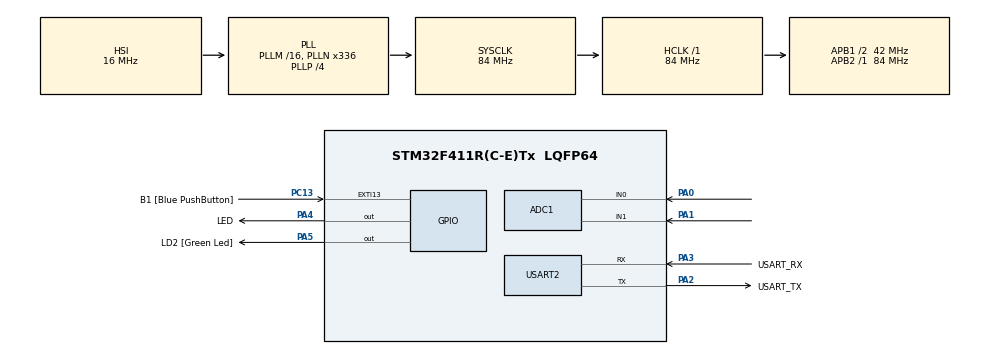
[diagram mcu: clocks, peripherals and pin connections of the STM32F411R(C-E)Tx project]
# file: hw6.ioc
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ADC1.Channel-0\#ChannelRegularConversion=ADC_CHANNEL_0
ADC1.Channel-1\#ChannelRegularConversion=ADC_CHANNEL_1
ADC1.DiscontinuousConvMode=ENABLE
ADC1.EnableAnalogWatchDog=true
ADC1.HighThreshold=3000
ADC1.ITMode=ENABLE
ADC1.NbrOfConversion=2
ADC1.NbrOfConversionFlag=1
ADC1.Rank-0\#ChannelRegularConversion=1
ADC1.Rank-1\#ChannelRegularConversion=2
ADC1.SamplingTime-0\#ChannelRegularConversion=ADC_SAMPLETIME_3CYCLES
ADC1.SamplingTime-1\#ChannelRegularConversion=ADC_SAMPLETIME_3CYCLES
ADC1.master=1
Mcu.Family=STM32F4
Mcu.Name=STM32F411R(C-E)Tx
Mcu.Package=LQFP64
NVIC.ADC_IRQn=true\:0\:0\:false\:false\:true\:true\:true\:true
NVIC.PriorityGroup=NVIC_PRIORITYGROUP_0
PA0-WKUP.Signal=ADCx_IN0
PA1.Signal=ADCx_IN1
PA13.GPIO_Label=TMS
PA13.Mode=Serial_Wire
PA13.Signal=SYS_JTMS-SWDIO
PA14.GPIO_Label=TCK
PA14.Mode=Serial_Wire
PA14.Signal=SYS_JTCK-SWCLK
PA2.GPIO_Label=USART_TX
PA2.Mode=Asynchronous
PA2.Signal=USART2_TX
PA3.GPIO_Label=USART_RX
PA3.Mode=Asynchronous
PA3.Signal=USART2_RX
PA4.GPIO_Label=LED
PA4.Signal=GPIO_Output
PA5.GPIO_Label=LD2 [Green Led]
PA5.Signal=GPIO_Output
PB3.GPIO_Label=SWO
PB3.Signal=SYS_JTDO-SWO
PC13-ANTI_TAMP.GPIO_Label=B1 [Blue PushButton]
PC13-ANTI_TAMP.GPIO_ModeDefaultEXTI=GPIO_MODE_IT_FALLING
PC13-ANTI_TAMP.Signal=GPXTI13
PC14-OSC32_IN.Mode=LSE-External-Oscillator
PC14-OSC32_IN.Signal=RCC_OSC32_IN
PC15-OSC32_OUT.Mode=LSE-External-Oscillator
PC15-OSC32_OUT.Signal=RCC_OSC32_OUT
PH0\ -\ OSC_IN.Mode=HSE-External-Clock-Source
PH0\ -\ OSC_IN.Signal=RCC_OSC_IN
PH1\ -\ OSC_OUT.Mode=HSE-External-Clock-Source
PH1\ -\ OSC_OUT.Signal=RCC_OSC_OUT
ProjectManager.HeapSize=0x200
ProjectManager.StackSize=0x400
ProjectManager.TargetToolchain=STM32CubeIDE
RCC.48MHZClocksFreq_Value=84000000
RCC.AHBFreq_Value=84000000
RCC.APB1CLKDivider=RCC_HCLK_DIV2
RCC.APB1Freq_Value=42000000
RCC.APB1TimFreq_Value=84000000
RCC.APB2Freq_Value=84000000
RCC.APB2TimFreq_Value=84000000
RCC.CortexFreq_Value=84000000
RCC.FLatency-AdvancedSettings=FLASH_LATENCY_2
RCC.HCLKFreq_Value=84000000
RCC.HSE_VALUE=8000000
RCC.HSI_VALUE=16000000
RCC.PLLN=336
RCC.PLLP=RCC_PLLP_DIV4
RCC.SYSCLKFreq_VALUE=84000000
RCC.SYSCLKSource=RCC_SYSCLKSOURCE_PLLCLK
RCC.VCOOutputFreq_Value=336000000
SH.ADCx_IN0.0=ADC1_IN0,IN0
SH.ADCx_IN1.0=ADC1_IN1,IN1
USART2.VirtualMode=VM_ASYNC
board=NUCLEO-F411RE

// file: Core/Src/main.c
/* USER CODE BEGIN Header */
/**
 ******************************************************************************
 * @file           : main.c
 * @brief          : Main program body
 ******************************************************************************
 * @attention
 *
 * Copyright (c) 2025 STMicroelectronics.
 * All rights reserved.
 *
 * This software is licensed under terms that can be found in the LICENSE file
 * in the root directory of this software component.
 * If no LICENSE file comes with this software, it is provided AS-IS.
 *
 ******************************************************************************
 */
/* USER CODE END Header */
#include "main.h"

/* USER CODE BEGIN Includes */
#include <stdio.h>
#include <string.h>
/* USER CODE END Includes */

ADC_HandleTypeDef hadc1;

UART_HandleTypeDef huart2;

/* USER CODE BEGIN PV */
uint16_t light_value = 0;   // PA0 - фоторезистор
uint16_t threshold_pot = 0; // PA1 - потенциометр порога

// Текущие пороги watchdog
uint16_t low_threshold = 1000;
uint16_t high_threshold = 3000;

// Фиксированный гистерезис
uint16_t hysteresis = 800;
/* USER CODE END PV */

void SystemClock_Config(void);
static void MX_GPIO_Init(void);
static void MX_USART2_UART_Init(void);
static void MX_ADC1_Init(void);

/* USER CODE BEGIN 0 */
//============================================================================
// Функция обновления порогов watchdog
void update_watchdog_thresholds(uint16_t center, uint16_t hysteresis) {
	// Вычисляем пороги: центр ± гистерезис/2
	low_threshold = center - (hysteresis / 2);
	high_threshold = center + (hysteresis / 2);

	// Защита от выхода за пределы 0-4095
	if (low_threshold > 4095)
		low_threshold = 4095;
	if (high_threshold > 4095)
		high_threshold = 4095;
	if (low_threshold < 0)
		low_threshold = 0;

	// Устанавливаем новые пороги в регистры watchdog
	ADC1->HTR = high_threshold;
	ADC1->LTR = low_threshold;
}

// Читаем только канал 0 (PA0)
void HAL_ADC_LevelOutOfWindowCallback(ADC_HandleTypeDef *hadc) {
	// Проверяем что прерывание от нашего ADC
	if (hadc->Instance != ADC1)
		return;

	uint16_t current_value = HAL_ADC_GetValue(hadc);

	// Управляем светодиодом
	if (current_value < low_threshold) {
		HAL_GPIO_WritePin(GPIOA, GPIO_PIN_4, GPIO_PIN_RESET);
	} else if (current_value > high_threshold) {
		HAL_GPIO_WritePin(GPIOA, GPIO_PIN_4, GPIO_PIN_SET);
	}
}
//============================================================================
/* USER CODE END 0 */

int main(void) {

	/* MCU Configuration--------------------------------------------------------*/

	/* Reset of all peripherals, Initializes the Flash interface and the Systick. */
	HAL_Init();

	/* Configure the system clock */
	SystemClock_Config();

	/* Initialize all configured peripherals */
	MX_GPIO_Init();
	MX_USART2_UART_Init();
	MX_ADC1_Init();

	/* Infinite loop */
	/* USER CODE BEGIN WHILE */
	while (1) {
		// Фоторезистор
		HAL_ADC_Start(&hadc1);
		HAL_ADC_PollForConversion(&hadc1, 1);
		light_value = HAL_ADC_GetValue(&hadc1); // PA0 - Channel0

		// Порог срабатывания
		HAL_ADC_Start(&hadc1);
		HAL_ADC_PollForConversion(&hadc1, 1);
		threshold_pot = HAL_ADC_GetValue(&hadc1); // PA1 - Channel1

		// Обновляем пороги watchdog
		update_watchdog_thresholds(threshold_pot, hysteresis);

		// --------------------------------------------------------------
		// Вывод в Serial Plotter (Arduino IDE)
		char buffer[50];
		sprintf(buffer, "%d %d %d %d\n", light_value, // СИНИЙ:   Освещенность - пр. потенциометр (фоторезистор)
				high_threshold,	// КРАСНЫЙ: Верхний порог
				low_threshold,	// ЗЕЛЕНЫЙ: Нижний порог
				(HAL_GPIO_ReadPin(GPIOA, GPIO_PIN_4) ? 800 : 0)); // Состояние LED

		HAL_UART_Transmit(&huart2, (uint8_t*) buffer, strlen(buffer), 100);
		// --------------------------------------------------------------

		HAL_Delay(100);
		/* USER CODE END WHILE */

	}
}

void SystemClock_Config(void) {
	RCC_OscInitTypeDef RCC_OscInitStruct = { 0 };
	RCC_ClkInitTypeDef RCC_ClkInitStruct = { 0 };

	/** Configure the main internal regulator output voltage
	 */
	__HAL_RCC_PWR_CLK_ENABLE();
	__HAL_PWR_VOLTAGESCALING_CONFIG(PWR_REGULATOR_VOLTAGE_SCALE1);

	/** Initializes the RCC Oscillators according to the specified parameters
	 * in the RCC_OscInitTypeDef structure.
	 */
	RCC_OscInitStruct.OscillatorType = RCC_OSCILLATORTYPE_HSI;
	RCC_OscInitStruct.HSIState = RCC_HSI_ON;
	RCC_OscInitStruct.HSICalibrationValue = RCC_HSICALIBRATION_DEFAULT;
	RCC_OscInitStruct.PLL.PLLState = RCC_PLL_ON;
	RCC_OscInitStruct.PLL.PLLSource = RCC_PLLSOURCE_HSI;
	RCC_OscInitStruct.PLL.PLLM = 16;
	RCC_OscInitStruct.PLL.PLLN = 336;
	RCC_OscInitStruct.PLL.PLLP = RCC_PLLP_DIV4;
	RCC_OscInitStruct.PLL.PLLQ = 4;
	if (HAL_RCC_OscConfig(&RCC_OscInitStruct) != HAL_OK) {
		Error_Handler();
	}

	/** Initializes the CPU, AHB and APB buses clocks
	 */
	RCC_ClkInitStruct.ClockType = RCC_CLOCKTYPE_HCLK | RCC_CLOCKTYPE_SYSCLK
			| RCC_CLOCKTYPE_PCLK1 | RCC_CLOCKTYPE_PCLK2;
	RCC_ClkInitStruct.SYSCLKSource = RCC_SYSCLKSOURCE_PLLCLK;
	RCC_ClkInitStruct.AHBCLKDivider = RCC_SYSCLK_DIV1;
	RCC_ClkInitStruct.APB1CLKDivider = RCC_HCLK_DIV2;
	RCC_ClkInitStruct.APB2CLKDivider = RCC_HCLK_DIV1;

	if (HAL_RCC_ClockConfig(&RCC_ClkInitStruct, FLASH_LATENCY_2) != HAL_OK) {
		Error_Handler();
	}
}

static void MX_ADC1_Init(void) {

	ADC_AnalogWDGConfTypeDef AnalogWDGConfig = { 0 };
	ADC_ChannelConfTypeDef sConfig = { 0 };

	/** Configure the global features of the ADC (Clock, Resolution, Data Alignment and number of conversion)
	 */
	hadc1.Instance = ADC1;
	hadc1.Init.ClockPrescaler = ADC_CLOCK_SYNC_PCLK_DIV4;
	hadc1.Init.Resolution = ADC_RESOLUTION_12B;
	hadc1.Init.ScanConvMode = ENABLE;
	hadc1.Init.ContinuousConvMode = DISABLE;
	hadc1.Init.DiscontinuousConvMode = ENABLE;
	hadc1.Init.NbrOfDiscConversion = 1;
	hadc1.Init.ExternalTrigConvEdge = ADC_EXTERNALTRIGCONVEDGE_NONE;
	hadc1.Init.ExternalTrigConv = ADC_SOFTWARE_START;
	hadc1.Init.DataAlign = ADC_DATAALIGN_RIGHT;
	hadc1.Init.NbrOfConversion = 2;
	hadc1.Init.DMAContinuousRequests = DISABLE;
	hadc1.Init.EOCSelection = ADC_EOC_SINGLE_CONV;
	if (HAL_ADC_Init(&hadc1) != HAL_OK) {
		Error_Handler();
	}

	/** Configure the analog watchdog
	 */
	AnalogWDGConfig.WatchdogMode = ADC_ANALOGWATCHDOG_SINGLE_REG;
	AnalogWDGConfig.HighThreshold = 3000;
	AnalogWDGConfig.LowThreshold = 0;
	AnalogWDGConfig.Channel = ADC_CHANNEL_0;
	AnalogWDGConfig.ITMode = ENABLE;
	if (HAL_ADC_AnalogWDGConfig(&hadc1, &AnalogWDGConfig) != HAL_OK) {
		Error_Handler();
	}

	/** Configure for the selected ADC regular channel its corresponding rank in the sequencer and its sample time.
	 */
	sConfig.Channel = ADC_CHANNEL_0;
	sConfig.Rank = 1;
	sConfig.SamplingTime = ADC_SAMPLETIME_3CYCLES;
	if (HAL_ADC_ConfigChannel(&hadc1, &sConfig) != HAL_OK) {
		Error_Handler();
	}

	/** Configure for the selected ADC regular channel its corresponding rank in the sequencer and its sample time.
	 */
	sConfig.Channel = ADC_CHANNEL_1;
	sConfig.Rank = 2;
	if (HAL_ADC_ConfigChannel(&hadc1, &sConfig) != HAL_OK) {
		Error_Handler();
	}

}

static void MX_USART2_UART_Init(void) {

	huart2.Instance = USART2;
	huart2.Init.BaudRate = 115200;
	huart2.Init.WordLength = UART_WORDLENGTH_8B;
	huart2.Init.StopBits = UART_STOPBITS_1;
	huart2.Init.Parity = UART_PARITY_NONE;
	huart2.Init.Mode = UART_MODE_TX_RX;
	huart2.Init.HwFlowCtl = UART_HWCONTROL_NONE;
	huart2.Init.OverSampling = UART_OVERSAMPLING_16;
	if (HAL_UART_Init(&huart2) != HAL_OK) {
		Error_Handler();
	}

}

static void MX_GPIO_Init(void) {
	GPIO_InitTypeDef GPIO_InitStruct = { 0 };

	/* GPIO Ports Clock Enable */
	__HAL_RCC_GPIOC_CLK_ENABLE();
	__HAL_RCC_GPIOH_CLK_ENABLE();
	__HAL_RCC_GPIOA_CLK_ENABLE();
	__HAL_RCC_GPIOB_CLK_ENABLE();

	/*Configure GPIO pin Output Level */
	HAL_GPIO_WritePin(GPIOA, LED_Pin | LD2_Pin, GPIO_PIN_RESET);

	/*Configure GPIO pin : B1_Pin */
	GPIO_InitStruct.Pin = B1_Pin;
	GPIO_InitStruct.Mode = GPIO_MODE_IT_FALLING;
	GPIO_InitStruct.Pull = GPIO_NOPULL;
	HAL_GPIO_Init(B1_GPIO_Port, &GPIO_InitStruct);

	/*Configure GPIO pins : LED_Pin LD2_Pin */
	GPIO_InitStruct.Pin = LED_Pin | LD2_Pin;
	GPIO_InitStruct.Mode = GPIO_MODE_OUTPUT_PP;
	GPIO_InitStruct.Pull = GPIO_NOPULL;
	GPIO_InitStruct.Speed = GPIO_SPEED_FREQ_LOW;
	HAL_GPIO_Init(GPIOA, &GPIO_InitStruct);

}

void Error_Handler(void) {
	__disable_irq();
	while (1) {
	}
}
